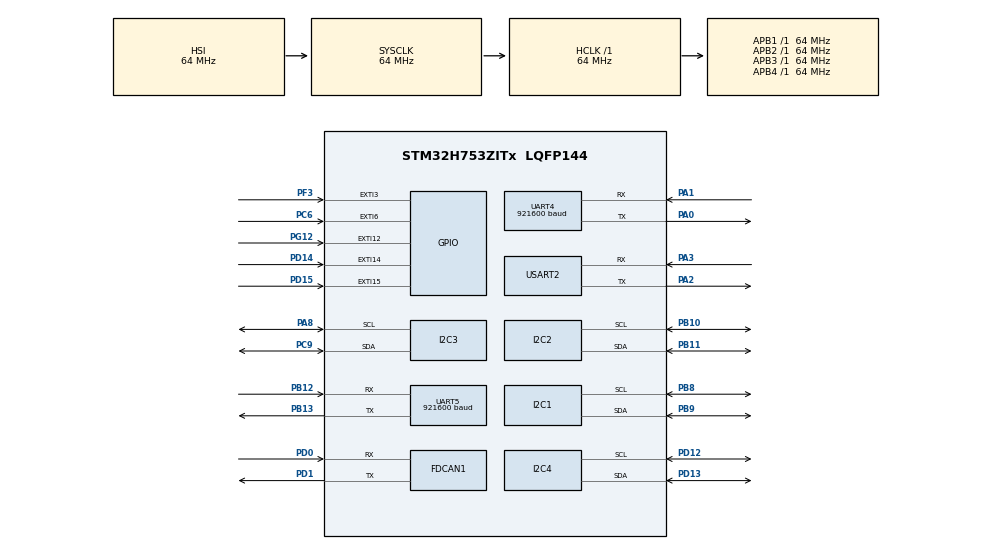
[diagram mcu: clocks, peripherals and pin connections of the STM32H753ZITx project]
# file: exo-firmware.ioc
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CORTEX_M7.CPU_DCache=Disabled
CORTEX_M7.CPU_ICache=Disabled
CORTEX_M7.MPU_Control=__NULL
CORTEX_M7.default_mode_Activation=1
FDCAN1.AutoRetransmission=DISABLE
FDCAN1.CalculateBaudRateNominal=500000
FDCAN1.CalculateTimeBitNominal=2000
FDCAN1.CalculateTimeQuantumNominal=13.333333333333334
FDCAN1.DataPrescaler=25
FDCAN1.DataSyncJumpWidth=1
FDCAN1.DataTimeSeg1=2
FDCAN1.DataTimeSeg2=1
FDCAN1.FrameFormat=FDCAN_FRAME_CLASSIC
FDCAN1.Mode=FDCAN_MODE_NORMAL
FDCAN1.NominalPrescaler=1
FDCAN1.NominalSyncJumpWidth=13
FDCAN1.NominalTimeSeg1=130
FDCAN1.NominalTimeSeg2=19
FDCAN1.RxBufferSize=FDCAN_DATA_BYTES_8
FDCAN1.RxBuffersNbr=0
FDCAN1.RxFifo0ElmtSize=FDCAN_DATA_BYTES_8
FDCAN1.RxFifo0ElmtsNbr=1
FDCAN1.StdFiltersNbr=1
FDCAN1.TxBuffersNbr=0
FDCAN1.TxElmtSize=FDCAN_DATA_BYTES_8
FDCAN1.TxFifoQueueElmtsNbr=1
FREERTOS.Tasks01=defaultTask,24,128,StartDefaultTask,Default,NULL,Dynamic,NULL,NULL
FREERTOS.configENABLE_FPU=1
FREERTOS.configUSE_NEWLIB_REENTRANT=1
FREERTOS.configUSE_PREEMPTION=0
Mcu.Family=STM32H7
Mcu.Name=STM32H753ZITx
Mcu.Package=LQFP144
NUCLEO-H753ZI.BUTTON=1
NUCLEO-H753ZI.LD1=true
NUCLEO-H753ZI.LD2=true
NUCLEO-H753ZI.LD3=true
NUCLEO-H753ZI.VCP=true
NVIC.EXTI15_10_IRQn=true\:5\:0\:false\:false\:true\:true\:false\:true\:true
NVIC.EXTI3_IRQn=true\:5\:0\:false\:false\:true\:true\:true\:true\:true
NVIC.EXTI9_5_IRQn=true\:5\:0\:false\:false\:true\:true\:true\:true\:true
NVIC.FDCAN1_IT0_IRQn=true\:5\:0\:false\:false\:true\:true\:true\:true\:true
NVIC.PriorityGroup=NVIC_PRIORITYGROUP_4
NVIC.TIM7_IRQn=true\:15\:0\:false\:false\:true\:false\:false\:true\:true
NVIC.TimeBase=TIM7_IRQn
NVIC.TimeBaseIP=TIM7
NVIC.USART2_IRQn=true\:5\:0\:false\:false\:true\:true\:true\:true\:true
PA0.Mode=Asynchronous
PA0.Signal=UART4_TX
PA1.Mode=Asynchronous
PA1.Signal=UART4_RX
PA2.Mode=Asynchronous
PA2.Signal=USART2_TX
PA3.Mode=Asynchronous
PA3.Signal=USART2_RX
PA8.Mode=I2C
PA8.Signal=I2C3_SCL
PB10.Mode=I2C
PB10.Signal=I2C2_SCL
PB11.Mode=I2C
PB11.Signal=I2C2_SDA
PB12.Mode=Asynchronous
PB12.Signal=UART5_RX
PB13.Mode=Asynchronous
PB13.Signal=UART5_TX
PB8.Mode=I2C
PB8.Signal=I2C1_SCL
PB9.Mode=I2C
PB9.Signal=I2C1_SDA
PC14-OSC32_IN\ (OSC32_IN).Signal=RCC_OSC32_IN
PC15-OSC32_OUT\ (OSC32_OUT).Signal=RCC_OSC32_OUT
PC6.GPIO_ModeDefaultEXTI=GPIO_MODE_IT_FALLING
PC6.Signal=GPXTI6
PC9.Mode=I2C
PC9.Signal=I2C3_SDA
PD0.Mode=FDCAN_Activate
PD0.Signal=FDCAN1_RX
PD1.Mode=FDCAN_Activate
PD1.Signal=FDCAN1_TX
PD12.Mode=I2C
PD12.Signal=I2C4_SCL
PD13.Mode=I2C
PD13.Signal=I2C4_SDA
PD14.GPIO_ModeDefaultEXTI=GPIO_MODE_IT_FALLING
PD14.Signal=GPXTI14
PD15.GPIO_ModeDefaultEXTI=GPIO_MODE_IT_FALLING
PD15.Signal=GPXTI15
PD8.Signal=USART3_TX
PD9.Signal=USART3_RX
PF3.GPIO_ModeDefaultEXTI=GPIO_MODE_IT_FALLING
PF3.Signal=GPXTI3
PG12.GPIO_ModeDefaultEXTI=GPIO_MODE_IT_FALLING
PG12.Signal=GPXTI12
PH0-OSC_IN\ (PH0).Signal=RCC_OSC_IN
PH1-OSC_OUT\ (PH1).Signal=RCC_OSC_OUT
ProjectManager.HeapSize=0x200
ProjectManager.StackSize=0x400
ProjectManager.TargetToolchain=STM32CubeIDE
RCC.ADCFreq_Value=129000000
RCC.APB1Freq_Value=64000000
RCC.APB2Freq_Value=64000000
RCC.APB3Freq_Value=64000000
RCC.APB4Freq_Value=64000000
RCC.CortexFreq_Value=64000000
RCC.DIVM1=4
RCC.DIVN1=9
RCC.HCLKFreq_Value=64000000
RCC.HSE_VALUE=8000000
RCC.PLLFRACN=3072
RCC.PWR_Regulator_Voltage_Scale=PWR_REGULATOR_VOLTAGE_SCALE2
RCC.SYSCLKFreq_VALUE=64000000
RCC.USBFreq_Value=75000000
UART4.BaudRate=921600
UART5.BaudRate=921600
USART2.VirtualMode-Asynchronous=VM_ASYNC
VP_FREERTOS_VS_CMSIS_V2.Mode=CMSIS_V2
VP_MEMORYMAP_VS_MEMORYMAP.Mode=CurAppReg
VP_NUCLEO-H753ZI_VS_BSP_COMMON.Mode=COMMON
VP_SYS_VS_tim7.Mode=TIM7
board=NUCLEO-H753ZI

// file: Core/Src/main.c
/* USER CODE BEGIN Header */
/**
  ******************************************************************************
  * @file           : main.c
  * @brief          : Main program body
  ******************************************************************************
  * @attention
  *
  * Copyright (c) 2026 STMicroelectronics.
  * All rights reserved.
  *
  * This software is licensed under terms that can be found in the LICENSE file
  * in the root directory of this software component.
  * If no LICENSE file comes with this software, it is provided AS-IS.
  *
  ******************************************************************************
  */
/* USER CODE END Header */
#include "main.h"
#include "FreeRTOS.h"
#include "cmsis_os2.h"

/* USER CODE BEGIN Includes */
//linker will look for initTasks in all other .o files, so no need to #include general_thread or drivers
void initTasks(void);
void initDrivers(void);
/* USER CODE END Includes */

COM_InitTypeDef BspCOMInit;

FDCAN_HandleTypeDef hfdcan1;

I2C_HandleTypeDef hi2c1;
I2C_HandleTypeDef hi2c2;
I2C_HandleTypeDef hi2c3;
I2C_HandleTypeDef hi2c4;

UART_HandleTypeDef huart4;
UART_HandleTypeDef huart5;
UART_HandleTypeDef huart2;

/* Definitions for defaultTask */
osThreadId_t defaultTaskHandle;
const osThreadAttr_t defaultTask_attributes = {
  .name = "defaultTask",
  .stack_size = 128 * 4,
  .priority = (osPriority_t) osPriorityNormal,
};
/* USER CODE BEGIN PV */
osThreadId_t updateBNO085Handle;
/* USER CODE END PV */

void SystemClock_Config(void);
static void MX_GPIO_Init(void);
static void MX_FDCAN1_Init(void);
static void MX_I2C2_Init(void);
static void MX_UART4_Init(void);
static void MX_UART5_Init(void);
static void MX_USART2_UART_Init(void);
static void MX_I2C1_Init(void);
static void MX_I2C3_Init(void);
static void MX_I2C4_Init(void);
void StartDefaultTask(void *argument);

/* USER CODE BEGIN PFP */
static void MPU_Config(void);

/* USER CODE END PFP */

int main(void)
{

  /* MCU Configuration--------------------------------------------------------*/

  /* Reset of all peripherals, Initializes the Flash interface and the Systick. */
  HAL_Init();

  /* Configure the system clock */
  SystemClock_Config();

  /* USER CODE BEGIN SysInit */
  MPU_Config();
  SCB_EnableICache();
  SCB_EnableDCache();
  /* USER CODE END SysInit */

  /* Initialize all configured peripherals */
  MX_GPIO_Init();
  MX_FDCAN1_Init();
  MX_I2C2_Init();
  MX_UART4_Init();
  MX_UART5_Init();
  MX_USART2_UART_Init();
  MX_I2C1_Init();
  MX_I2C3_Init();
  MX_I2C4_Init();

  /* Init scheduler */
  osKernelInitialize();

  /* Create the thread(s) */
  /* creation of defaultTask */
  defaultTaskHandle = osThreadNew(StartDefaultTask, NULL, &defaultTask_attributes);

  /* USER CODE BEGIN RTOS_THREADS */

  initTasks(); //create task to forward queue to esp through uart
  initDrivers();
  /* add threads, ... */
  /* USER CODE END RTOS_THREADS */

  /* Initialize leds */
  BSP_LED_Init(LED_GREEN);
  BSP_LED_Init(LED_YELLOW);
  BSP_LED_Init(LED_RED);

  /* Initialize USER push-button, will be used to trigger an interrupt each time it's pressed.*/
  BSP_PB_Init(BUTTON_USER, BUTTON_MODE_EXTI);

  /* Initialize COM1 port (115200, 8 bits (7-bit data + 1 stop bit), no parity */
  BspCOMInit.BaudRate   = 115200;
  BspCOMInit.WordLength = COM_WORDLENGTH_8B;
  BspCOMInit.StopBits   = COM_STOPBITS_1;
  BspCOMInit.Parity     = COM_PARITY_NONE;
  BspCOMInit.HwFlowCtl  = COM_HWCONTROL_NONE;
  if (BSP_COM_Init(COM1, &BspCOMInit) != BSP_ERROR_NONE)
  {
    Error_Handler();
  }

  /* Start scheduler */
  osKernelStart();

  /* We should never get here as control is now taken by the scheduler */

  /* Infinite loop */
  while (1)
  {

  }
}

void SystemClock_Config(void)
{
  RCC_OscInitTypeDef RCC_OscInitStruct = {0};
  RCC_ClkInitTypeDef RCC_ClkInitStruct = {0};

  /** Supply configuration update enable
  */
  HAL_PWREx_ConfigSupply(PWR_LDO_SUPPLY);

  /** Configure the main internal regulator output voltage
  */
  __HAL_PWR_VOLTAGESCALING_CONFIG(PWR_REGULATOR_VOLTAGE_SCALE2);

  while(!__HAL_PWR_GET_FLAG(PWR_FLAG_VOSRDY)) {}

  /** Initializes the RCC Oscillators according to the specified parameters
  * in the RCC_OscInitTypeDef structure.
  */
  RCC_OscInitStruct.OscillatorType = RCC_OSCILLATORTYPE_HSI;
  RCC_OscInitStruct.HSIState = RCC_HSI_DIV1;
  RCC_OscInitStruct.HSICalibrationValue = RCC_HSICALIBRATION_DEFAULT;
  RCC_OscInitStruct.PLL.PLLState = RCC_PLL_ON;
  RCC_OscInitStruct.PLL.PLLSource = RCC_PLLSOURCE_HSI;
  RCC_OscInitStruct.PLL.PLLM = 4;
  RCC_OscInitStruct.PLL.PLLN = 9;
  RCC_OscInitStruct.PLL.PLLP = 2;
  RCC_OscInitStruct.PLL.PLLQ = 2;
  RCC_OscInitStruct.PLL.PLLR = 2;
  RCC_OscInitStruct.PLL.PLLRGE = RCC_PLL1VCIRANGE_3;
  RCC_OscInitStruct.PLL.PLLVCOSEL = RCC_PLL1VCOMEDIUM;
  RCC_OscInitStruct.PLL.PLLFRACN = 3072;
  if (HAL_RCC_OscConfig(&RCC_OscInitStruct) != HAL_OK)
  {
    Error_Handler();
  }

  /** Initializes the CPU, AHB and APB buses clocks
  */
  RCC_ClkInitStruct.ClockType = RCC_CLOCKTYPE_HCLK|RCC_CLOCKTYPE_SYSCLK
                              |RCC_CLOCKTYPE_PCLK1|RCC_CLOCKTYPE_PCLK2
                              |RCC_CLOCKTYPE_D3PCLK1|RCC_CLOCKTYPE_D1PCLK1;
  RCC_ClkInitStruct.SYSCLKSource = RCC_SYSCLKSOURCE_HSI;
  RCC_ClkInitStruct.SYSCLKDivider = RCC_SYSCLK_DIV1;
  RCC_ClkInitStruct.AHBCLKDivider = RCC_HCLK_DIV1;
  RCC_ClkInitStruct.APB3CLKDivider = RCC_APB3_DIV1;
  RCC_ClkInitStruct.APB1CLKDivider = RCC_APB1_DIV1;
  RCC_ClkInitStruct.APB2CLKDivider = RCC_APB2_DIV1;
  RCC_ClkInitStruct.APB4CLKDivider = RCC_APB4_DIV1;

  if (HAL_RCC_ClockConfig(&RCC_ClkInitStruct, FLASH_LATENCY_1) != HAL_OK)
  {
    Error_Handler();
  }
}

static void MX_FDCAN1_Init(void)
{

  hfdcan1.Instance = FDCAN1;
  hfdcan1.Init.FrameFormat = FDCAN_FRAME_CLASSIC;
  hfdcan1.Init.Mode = FDCAN_MODE_NORMAL;
  hfdcan1.Init.AutoRetransmission = DISABLE;
  hfdcan1.Init.TransmitPause = DISABLE;
  hfdcan1.Init.ProtocolException = DISABLE;
  hfdcan1.Init.NominalPrescaler = 1;
  hfdcan1.Init.NominalSyncJumpWidth = 13;
  hfdcan1.Init.NominalTimeSeg1 = 130;
  hfdcan1.Init.NominalTimeSeg2 = 19;
  hfdcan1.Init.DataPrescaler = 25;
  hfdcan1.Init.DataSyncJumpWidth = 1;
  hfdcan1.Init.DataTimeSeg1 = 2;
  hfdcan1.Init.DataTimeSeg2 = 1;
  hfdcan1.Init.MessageRAMOffset = 0;
  hfdcan1.Init.StdFiltersNbr = 1;
  hfdcan1.Init.ExtFiltersNbr = 0;
  hfdcan1.Init.RxFifo0ElmtsNbr = 1;
  hfdcan1.Init.RxFifo0ElmtSize = FDCAN_DATA_BYTES_8;
  hfdcan1.Init.RxFifo1ElmtsNbr = 0;
  hfdcan1.Init.RxFifo1ElmtSize = FDCAN_DATA_BYTES_8;
  hfdcan1.Init.RxBuffersNbr = 0;
  hfdcan1.Init.RxBufferSize = FDCAN_DATA_BYTES_8;
  hfdcan1.Init.TxEventsNbr = 0;
  hfdcan1.Init.TxBuffersNbr = 0;
  hfdcan1.Init.TxFifoQueueElmtsNbr = 1;
  hfdcan1.Init.TxFifoQueueMode = FDCAN_TX_FIFO_OPERATION;
  hfdcan1.Init.TxElmtSize = FDCAN_DATA_BYTES_8;
  if (HAL_FDCAN_Init(&hfdcan1) != HAL_OK)
  {
    Error_Handler();
  }

}

static void MX_I2C1_Init(void)
{

  hi2c1.Instance = I2C1;
  hi2c1.Init.Timing = 0x10707DBC;
  hi2c1.Init.OwnAddress1 = 0;
  hi2c1.Init.AddressingMode = I2C_ADDRESSINGMODE_7BIT;
  hi2c1.Init.DualAddressMode = I2C_DUALADDRESS_DISABLE;
  hi2c1.Init.OwnAddress2 = 0;
  hi2c1.Init.OwnAddress2Masks = I2C_OA2_NOMASK;
  hi2c1.Init.GeneralCallMode = I2C_GENERALCALL_DISABLE;
  hi2c1.Init.NoStretchMode = I2C_NOSTRETCH_DISABLE;
  if (HAL_I2C_Init(&hi2c1) != HAL_OK)
  {
    Error_Handler();
  }

  /** Configure Analogue filter
  */
  if (HAL_I2CEx_ConfigAnalogFilter(&hi2c1, I2C_ANALOGFILTER_ENABLE) != HAL_OK)
  {
    Error_Handler();
  }

  /** Configure Digital filter
  */
  if (HAL_I2CEx_ConfigDigitalFilter(&hi2c1, 0) != HAL_OK)
  {
    Error_Handler();
  }

}

static void MX_I2C2_Init(void)
{

  hi2c2.Instance = I2C2;
  hi2c2.Init.Timing = 0x10707DBC;
  hi2c2.Init.OwnAddress1 = 0;
  hi2c2.Init.AddressingMode = I2C_ADDRESSINGMODE_7BIT;
  hi2c2.Init.DualAddressMode = I2C_DUALADDRESS_DISABLE;
  hi2c2.Init.OwnAddress2 = 0;
  hi2c2.Init.OwnAddress2Masks = I2C_OA2_NOMASK;
  hi2c2.Init.GeneralCallMode = I2C_GENERALCALL_DISABLE;
  hi2c2.Init.NoStretchMode = I2C_NOSTRETCH_DISABLE;
  if (HAL_I2C_Init(&hi2c2) != HAL_OK)
  {
    Error_Handler();
  }

  /** Configure Analogue filter
  */
  if (HAL_I2CEx_ConfigAnalogFilter(&hi2c2, I2C_ANALOGFILTER_ENABLE) != HAL_OK)
  {
    Error_Handler();
  }

  /** Configure Digital filter
  */
  if (HAL_I2CEx_ConfigDigitalFilter(&hi2c2, 0) != HAL_OK)
  {
    Error_Handler();
  }

}

static void MX_I2C3_Init(void)
{

  hi2c3.Instance = I2C3;
  hi2c3.Init.Timing = 0x10707DBC;
  hi2c3.Init.OwnAddress1 = 0;
  hi2c3.Init.AddressingMode = I2C_ADDRESSINGMODE_7BIT;
  hi2c3.Init.DualAddressMode = I2C_DUALADDRESS_DISABLE;
  hi2c3.Init.OwnAddress2 = 0;
  hi2c3.Init.OwnAddress2Masks = I2C_OA2_NOMASK;
  hi2c3.Init.GeneralCallMode = I2C_GENERALCALL_DISABLE;
  hi2c3.Init.NoStretchMode = I2C_NOSTRETCH_DISABLE;
  if (HAL_I2C_Init(&hi2c3) != HAL_OK)
  {
    Error_Handler();
  }

  /** Configure Analogue filter
  */
  if (HAL_I2CEx_ConfigAnalogFilter(&hi2c3, I2C_ANALOGFILTER_ENABLE) != HAL_OK)
  {
    Error_Handler();
  }

  /** Configure Digital filter
  */
  if (HAL_I2CEx_ConfigDigitalFilter(&hi2c3, 0) != HAL_OK)
  {
    Error_Handler();
  }

}

static void MX_I2C4_Init(void)
{

  hi2c4.Instance = I2C4;
  hi2c4.Init.Timing = 0x10707DBC;
  hi2c4.Init.OwnAddress1 = 0;
  hi2c4.Init.AddressingMode = I2C_ADDRESSINGMODE_7BIT;
  hi2c4.Init.DualAddressMode = I2C_DUALADDRESS_DISABLE;
  hi2c4.Init.OwnAddress2 = 0;
  hi2c4.Init.OwnAddress2Masks = I2C_OA2_NOMASK;
  hi2c4.Init.GeneralCallMode = I2C_GENERALCALL_DISABLE;
  hi2c4.Init.NoStretchMode = I2C_NOSTRETCH_DISABLE;
  if (HAL_I2C_Init(&hi2c4) != HAL_OK)
  {
    Error_Handler();
  }

  /** Configure Analogue filter
  */
  if (HAL_I2CEx_ConfigAnalogFilter(&hi2c4, I2C_ANALOGFILTER_ENABLE) != HAL_OK)
  {
    Error_Handler();
  }

  /** Configure Digital filter
  */
  if (HAL_I2CEx_ConfigDigitalFilter(&hi2c4, 0) != HAL_OK)
  {
    Error_Handler();
  }

}

static void MX_UART4_Init(void)
{

  huart4.Instance = UART4;
  huart4.Init.BaudRate = 921600;
  huart4.Init.WordLength = UART_WORDLENGTH_8B;
  huart4.Init.StopBits = UART_STOPBITS_1;
  huart4.Init.Parity = UART_PARITY_NONE;
  huart4.Init.Mode = UART_MODE_TX_RX;
  huart4.Init.HwFlowCtl = UART_HWCONTROL_NONE;
  huart4.Init.OverSampling = UART_OVERSAMPLING_16;
  huart4.Init.OneBitSampling = UART_ONE_BIT_SAMPLE_DISABLE;
  huart4.Init.ClockPrescaler = UART_PRESCALER_DIV1;
  huart4.AdvancedInit.AdvFeatureInit = UART_ADVFEATURE_NO_INIT;
  if (HAL_UART_Init(&huart4) != HAL_OK)
  {
    Error_Handler();
  }
  if (HAL_UARTEx_SetTxFifoThreshold(&huart4, UART_TXFIFO_THRESHOLD_1_8) != HAL_OK)
  {
    Error_Handler();
  }
  if (HAL_UARTEx_SetRxFifoThreshold(&huart4, UART_RXFIFO_THRESHOLD_1_8) != HAL_OK)
  {
    Error_Handler();
  }
  if (HAL_UARTEx_DisableFifoMode(&huart4) != HAL_OK)
  {
    Error_Handler();
  }

}

static void MX_UART5_Init(void)
{

  huart5.Instance = UART5;
  huart5.Init.BaudRate = 921600;
  huart5.Init.WordLength = UART_WORDLENGTH_8B;
  huart5.Init.StopBits = UART_STOPBITS_1;
  huart5.Init.Parity = UART_PARITY_NONE;
  huart5.Init.Mode = UART_MODE_TX_RX;
  huart5.Init.HwFlowCtl = UART_HWCONTROL_NONE;
  huart5.Init.OverSampling = UART_OVERSAMPLING_16;
  huart5.Init.OneBitSampling = UART_ONE_BIT_SAMPLE_DISABLE;
  huart5.Init.ClockPrescaler = UART_PRESCALER_DIV1;
  huart5.AdvancedInit.AdvFeatureInit = UART_ADVFEATURE_NO_INIT;
  if (HAL_UART_Init(&huart5) != HAL_OK)
  {
    Error_Handler();
  }
  if (HAL_UARTEx_SetTxFifoThreshold(&huart5, UART_TXFIFO_THRESHOLD_1_8) != HAL_OK)
  {
    Error_Handler();
  }
  if (HAL_UARTEx_SetRxFifoThreshold(&huart5, UART_RXFIFO_THRESHOLD_1_8) != HAL_OK)
  {
    Error_Handler();
  }
  if (HAL_UARTEx_DisableFifoMode(&huart5) != HAL_OK)
  {
    Error_Handler();
  }

}

static void MX_USART2_UART_Init(void)
{

  huart2.Instance = USART2;
  huart2.Init.BaudRate = 115200;
  huart2.Init.WordLength = UART_WORDLENGTH_8B;
  huart2.Init.StopBits = UART_STOPBITS_1;
  huart2.Init.Parity = UART_PARITY_NONE;
  huart2.Init.Mode = UART_MODE_TX_RX;
  huart2.Init.HwFlowCtl = UART_HWCONTROL_NONE;
  huart2.Init.OverSampling = UART_OVERSAMPLING_16;
  huart2.Init.OneBitSampling = UART_ONE_BIT_SAMPLE_DISABLE;
  huart2.Init.ClockPrescaler = UART_PRESCALER_DIV1;
  huart2.AdvancedInit.AdvFeatureInit = UART_ADVFEATURE_NO_INIT;
  if (HAL_UART_Init(&huart2) != HAL_OK)
  {
    Error_Handler();
  }
  if (HAL_UARTEx_SetTxFifoThreshold(&huart2, UART_TXFIFO_THRESHOLD_1_8) != HAL_OK)
  {
    Error_Handler();
  }
  if (HAL_UARTEx_SetRxFifoThreshold(&huart2, UART_RXFIFO_THRESHOLD_1_8) != HAL_OK)
  {
    Error_Handler();
  }
  if (HAL_UARTEx_DisableFifoMode(&huart2) != HAL_OK)
  {
    Error_Handler();
  }

}

static void MX_GPIO_Init(void)
{
  GPIO_InitTypeDef GPIO_InitStruct = {0};

  /* GPIO Ports Clock Enable */
  __HAL_RCC_GPIOC_CLK_ENABLE();
  __HAL_RCC_GPIOF_CLK_ENABLE();
  __HAL_RCC_GPIOH_CLK_ENABLE();
  __HAL_RCC_GPIOA_CLK_ENABLE();
  __HAL_RCC_GPIOB_CLK_ENABLE();
  __HAL_RCC_GPIOD_CLK_ENABLE();
  __HAL_RCC_GPIOG_CLK_ENABLE();

  /*Configure GPIO pin : PF3 */
  GPIO_InitStruct.Pin = GPIO_PIN_3;
  GPIO_InitStruct.Mode = GPIO_MODE_IT_FALLING;
  GPIO_InitStruct.Pull = GPIO_NOPULL;
  HAL_GPIO_Init(GPIOF, &GPIO_InitStruct);

  /*Configure GPIO pins : PD14 PD15 */
  GPIO_InitStruct.Pin = GPIO_PIN_14|GPIO_PIN_15;
  GPIO_InitStruct.Mode = GPIO_MODE_IT_FALLING;
  GPIO_InitStruct.Pull = GPIO_NOPULL;
  HAL_GPIO_Init(GPIOD, &GPIO_InitStruct);

  /*Configure GPIO pin : PC6 */
  GPIO_InitStruct.Pin = GPIO_PIN_6;
  GPIO_InitStruct.Mode = GPIO_MODE_IT_FALLING;
  GPIO_InitStruct.Pull = GPIO_NOPULL;
  HAL_GPIO_Init(GPIOC, &GPIO_InitStruct);

  /*Configure GPIO pin : PG12 */
  GPIO_InitStruct.Pin = GPIO_PIN_12;
  GPIO_InitStruct.Mode = GPIO_MODE_IT_FALLING;
  GPIO_InitStruct.Pull = GPIO_NOPULL;
  HAL_GPIO_Init(GPIOG, &GPIO_InitStruct);

  /* EXTI interrupt init*/
  HAL_NVIC_SetPriority(EXTI3_IRQn, 5, 0);
  HAL_NVIC_EnableIRQ(EXTI3_IRQn);

  HAL_NVIC_SetPriority(EXTI9_5_IRQn, 5, 0);
  HAL_NVIC_EnableIRQ(EXTI9_5_IRQn);

  HAL_NVIC_SetPriority(EXTI15_10_IRQn, 5, 0);
  HAL_NVIC_EnableIRQ(EXTI15_10_IRQn);

}

/* USER CODE BEGIN 4 */

static void MPU_Config(void)
{
  MPU_Region_InitTypeDef region = {0};

  HAL_MPU_Disable();

  region.Enable = MPU_REGION_ENABLE;
  region.Number = MPU_REGION_NUMBER0;
  region.BaseAddress = 0x24000000;
  region.Size = MPU_REGION_SIZE_512KB;
  region.SubRegionDisable = 0x00;
  region.TypeExtField = MPU_TEX_LEVEL0;
  region.AccessPermission = MPU_REGION_FULL_ACCESS;
  region.DisableExec = MPU_INSTRUCTION_ACCESS_ENABLE;
  region.IsShareable = MPU_ACCESS_NOT_SHAREABLE;
  region.IsCacheable = MPU_ACCESS_CACHEABLE;
  region.IsBufferable = MPU_ACCESS_BUFFERABLE;
  HAL_MPU_ConfigRegion(&region);

  region.Number = MPU_REGION_NUMBER1;
  region.BaseAddress = 0x30000000;
  region.Size = MPU_REGION_SIZE_512KB;
  region.DisableExec = MPU_INSTRUCTION_ACCESS_DISABLE;
  region.IsShareable = MPU_ACCESS_SHAREABLE;
  region.IsCacheable = MPU_ACCESS_NOT_CACHEABLE;
  region.IsBufferable = MPU_ACCESS_NOT_BUFFERABLE;
  HAL_MPU_ConfigRegion(&region);

  HAL_MPU_Enable(MPU_PRIVILEGED_DEFAULT);
}

void HAL_GPIO_EXTI_Callback(uint16_t GPIO_Pin)
{
  uint32_t bit = 0;
  BaseType_t xHigherPriorityTaskWoken = pdFALSE;
  if (GPIO_Pin == GPIO_PIN_3)
  {
    bit = (1u << 0);
  }
  else if (GPIO_Pin == GPIO_PIN_12)
  {
    bit = (1u << 1);
  }
  if(bit) xTaskNotifyFromISR(updateBNO085Handle, bit, eSetBits, &xHigherPriorityTaskWoken);

}

/* USER CODE END 4 */

void StartDefaultTask(void *argument)
{
  for(;;)
  {
    osDelay(1);
  }
}

void HAL_TIM_PeriodElapsedCallback(TIM_HandleTypeDef *htim)
{
  if (htim->Instance == TIM7)
  {
    HAL_IncTick();
  }
}

void Error_Handler(void)
{
  __disable_irq();
  while (1)
  {
  }
}

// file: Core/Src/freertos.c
/* USER CODE BEGIN Header */
/**
  ******************************************************************************
  * File Name          : freertos.c
  * Description        : Code for freertos applications
  ******************************************************************************
  * @attention
  *
  * Copyright (c) 2026 STMicroelectronics.
  * All rights reserved.
  *
  * This software is licensed under terms that can be found in the LICENSE file
  * in the root directory of this software component.
  * If no LICENSE file comes with this software, it is provided AS-IS.
  *
  ******************************************************************************
  */
/* USER CODE END Header */

#include "FreeRTOS.h"
#include "task.h"
#include "main.h"

/* USER CODE BEGIN Application */
void vApplicationStackOverflowHook(TaskHandle_t xTask, char *pcTaskName)
{
  (void)xTask;
  (void)pcTaskName;
  Error_Handler();
}

void vApplicationMallocFailedHook(void)
{
  Error_Handler();
}
/* USER CODE END Application */
